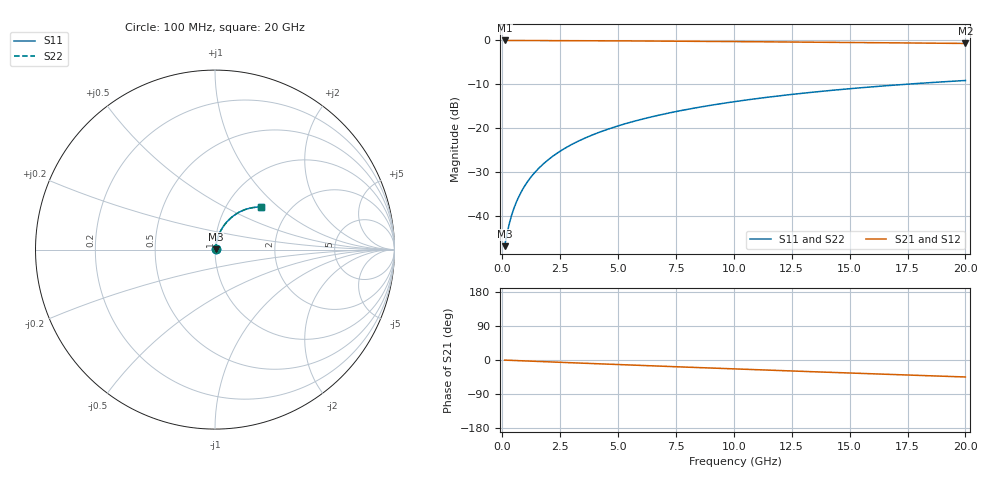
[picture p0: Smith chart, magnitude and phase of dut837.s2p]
! Touchstone file exported from HFSS 2026.1.0
!  File:  C:/ffzhzh/LocalFiles/Ansys_Project_Files/temp_train_TMRDL_837_1783156733_43440.aedt
!  Generated:  05:20:05 PM Jul  4, 2026
!  Design:  TMRDL
!  Project:  temp_train_TMRDL_837_1783156733_43440
! Variables:
!  h_bsmrdl = 2um
!  h_ox = 20um
!  h_rdl = 5um
!  h_sub = 80um
!  h_tmrdl = 4.73um
!  h_tsv = 80um
!  h_via = 3um
!  l_bsmrdl = 300um
!  l_sub = 1118.74um
!  l_tmrdl = 718.74um
!  m_sub = 200um
!  pitch = 30.84um
!  r_tsv = 6um
!  s_tmrdl = 10um
!  w_bsmrdl = 18um
!  w_sub = 500um
!  w_tmrdl = 14.23um
!  x_tsv_center1 = 725.855um
!  x_tsv_center2 = 1043.855um
!  x_tsv_center3 = 1776.825um
!  x_tsv_center4 = 2094.825um
!  x_tsv_center5 = 2827.795um
!  x_tsv_center6 = 3145.795um
# GHz S MA R 50.000000
! Terminal data exported
! Port[1] = TM_RDL1_1_T1
! Port[2] = TM_RDL1_1_T2
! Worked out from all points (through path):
!   200 points, 100 MHz to 20 GHz, reference 50 ohm
!   highest |S21| = -0.03 dB at 100 MHz (marker M1); lowest = -0.7 dB at 20 GHz (marker M2)
!   group delay of S21, straight-line fit = 6.21 ps
!   lowest |S11| = -46.8 dB at 100 MHz (marker M3), VSWR 1.01, Z = 50.4 + j0.243 ohm
!   |S11| at or under -10 dB: start of sweep to 17.42 GHz
!   |S22| runs from -46.8 to -9.1 dB; largest |S21 - S12| = 2.1e-15
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0.1  0.004568 31.9  0.9961 -0.3  0.9961 -0.3  0.004568 31.9
! Gamma 0 0 0 0
! Port Impedance 50 0 50 0
0.2  0.006246 49.4  0.996 -0.5  0.996 -0.5  0.006246 49.4
0.3  0.008186 58.5  0.9958 -0.8  0.9958 -0.8  0.008186 58.5
0.4  0.0102 64.0  0.9956 -1.0  0.9956 -1.0  0.0102 64.0
0.5  0.01225 67.6  0.9955 -1.2  0.9955 -1.2  0.01225 67.6
0.6  0.01432 70.1  0.9954 -1.5  0.9954 -1.5  0.01432 70.1
0.8  0.01852 73.5  0.9952 -2.0  0.9952 -2.0  0.01852 73.5
1.1  0.02491 76.1  0.9949 -2.7  0.9949 -2.7  0.02491 76.1
1.3  0.0292 77.0  0.9946 -3.2  0.9946 -3.2  0.0292 77.0
1.6  0.03565 77.8  0.9942 -3.9  0.9942 -3.9  0.03565 77.8
2.1  0.04637 78.0  0.9934 -5.1  0.9934 -5.1  0.04637 78.0
2.7  0.05913 77.6  0.9922 -6.6  0.9922 -6.6  0.05913 77.6
3.5  0.07589 76.4  0.9903 -8.5  0.9903 -8.5  0.07589 76.4
4.2  0.0903 75.1  0.9884 -10.1  0.9884 -10.1  0.0903 75.1
5  0.1065 73.5  0.986 -12.0  0.986 -12.0  0.1065 73.5
5.9  0.1242 71.6  0.9831 -14.1  0.9831 -14.1  0.1242 71.6
6.8  0.1416 69.8  0.9799 -16.2  0.9799 -16.2  0.1416 69.8
8.3  0.1697 66.6  0.9743 -19.6  0.9743 -19.6  0.1697 66.6
10.1  0.202 62.8  0.967 -23.7  0.967 -23.7  0.202 62.8
13.4  0.257 56.0  0.9524 -30.9  0.9524 -30.9  0.257 56.0
16.7  0.3063 49.3  0.9369 -38.0  0.9369 -38.0  0.3063 49.3
20  0.3494 42.7  0.9212 -44.8  0.9212 -44.8  0.3494 42.7
